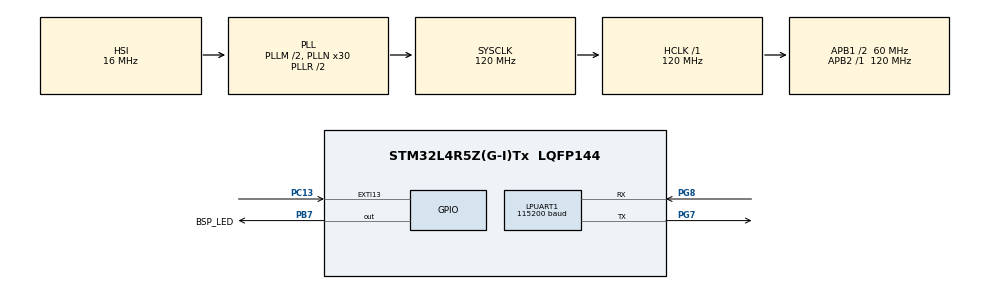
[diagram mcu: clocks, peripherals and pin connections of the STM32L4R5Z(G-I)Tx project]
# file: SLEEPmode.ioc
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LPUART1.BaudRate=115200
LPUART1.WordLength=UART_WORDLENGTH_8B
Mcu.Family=STM32L4
Mcu.Name=STM32L4R5Z(G-I)Tx
Mcu.Package=LQFP144
NVIC.EXTI15_10_IRQn=true\:0\:0\:false\:false\:true\:true\:true\:true
NVIC.LPUART1_IRQn=true\:0\:0\:false\:false\:true\:true\:true\:true
NVIC.PriorityGroup=NVIC_PRIORITYGROUP_4
PA13\ (JTMS/SWDIO).Mode=Serial_Wire
PA13\ (JTMS/SWDIO).Signal=SYS_JTMS-SWDIO
PA14\ (JTCK/SWCLK).Mode=Serial_Wire
PA14\ (JTCK/SWCLK).Signal=SYS_JTCK-SWCLK
PB7.GPIO_Label=BSP_LED
PB7.Signal=GPIO_Output
PC13.Signal=GPXTI13
PG7.Mode=Asynchronous
PG7.Signal=LPUART1_TX
PG8.Mode=Asynchronous
PG8.Signal=LPUART1_RX
PH0-OSC_IN\ (PH0).Mode=HSE-External-Oscillator
PH0-OSC_IN\ (PH0).Signal=RCC_OSC_IN
PH1-OSC_OUT\ (PH1).Mode=HSE-External-Oscillator
PH1-OSC_OUT\ (PH1).Signal=RCC_OSC_OUT
ProjectManager.HeapSize=0x200
ProjectManager.StackSize=0x400
ProjectManager.TargetToolchain=STM32CubeIDE
RCC.48MHZClocksFreq_Value=24000000
RCC.ADCFreq_Value=96000000
RCC.AHBFreq_Value=120000000
RCC.APB1CLKDivider=RCC_HCLK_DIV2
RCC.APB1Freq_Value=60000000
RCC.APB1TimFreq_Value=120000000
RCC.APB2Freq_Value=120000000
RCC.APB2TimFreq_Value=120000000
RCC.CK48CLockSelection=RCC_USBCLKSOURCE_HSI48
RCC.CortexFreq_Value=120000000
RCC.HCLKFreq_Value=120000000
RCC.HSE_VALUE=8000000
RCC.HSI48_VALUE=48000000
RCC.HSI_VALUE=16000000
RCC.MSI_VALUE=4000000
RCC.PLLM1=2
RCC.PLLMUL=RCC_PLL_MUL9
RCC.PLLN=30
RCC.PLLSAI1N=12
RCC.PLLSourceVirtual=RCC_PLLSOURCE_HSI
RCC.PRESCALERUSB=RCC_USBCLKSOURCE_PLL_DIV1_5
RCC.SYSCLKFreq_VALUE=120000000
RCC.SYSCLKSource=RCC_SYSCLKSOURCE_PLLCLK
RCC.SYSCLKSourceVirtual=RCC_SYSCLKSOURCE_PLLCLK
RCC.USBFreq_Value=48000000
RCC.VCOOutputFreq_Value=240000000
board=NUCLEO-L4R5ZI

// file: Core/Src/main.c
/* USER CODE BEGIN Header */
/**
  ******************************************************************************
  * @file           : main.c
  * @brief          : Main program body
  ******************************************************************************
  * @attention
  *
  * Copyright (c) 2023 STMicroelectronics.
  * All rights reserved.
  *
  * This software is licensed under terms that can be found in the LICENSE file
  * in the root directory of this software component.
  * If no LICENSE file comes with this software, it is provided AS-IS.
  *
  ******************************************************************************
  */
/* USER CODE END Header */
#include "main.h"

/* USER CODE BEGIN Includes */
#include<string.h>
/* USER CODE END Includes */

UART_HandleTypeDef hlpuart1;

/* USER CODE BEGIN PV */
char *str={0};
uint8_t Rx_data;
/* USER CODE END PV */

void SystemClock_Config(void);
static void MX_GPIO_Init(void);
static void MX_LPUART1_UART_Init(void);

/* USER CODE BEGIN 0 */
void HAL_UART_RxCpltCallback(UART_HandleTypeDef *huart)
 {
     HAL_UART_Receive_IT(&hlpuart1, &Rx_data, 1);
     str = "WakeUP from SLEEP by UART\r\n";
     HAL_UART_Transmit(&hlpuart1, (uint8_t *)str, strlen (str), HAL_MAX_DELAY);
 }

 void HAL_GPIO_EXTI_Callback(uint16_t GPIO_Pin)
 {
     str = "WakeUP from SLEEP by EXTI\r\n";
     HAL_UART_Transmit(&hlpuart1, (uint8_t *)str, strlen (str), HAL_MAX_DELAY);
     HAL_ResumeTick();
     HAL_PWR_DisableSleepOnExit ();

 }

/* USER CODE END 0 */

int main(void)
{

  /* MCU Configuration--------------------------------------------------------*/

  /* Reset of all peripherals, Initializes the Flash interface and the Systick. */
  HAL_Init();

  /* Configure the system clock */
  SystemClock_Config();

  /* Initialize all configured peripherals */
  MX_GPIO_Init();
  MX_LPUART1_UART_Init();
  /* USER CODE BEGIN 2 */

  HAL_UART_Receive_IT(&hlpuart1, &Rx_data, 1);

  /* USER CODE END 2 */

  /* Infinite loop */
  while (1)
  {

    /* USER CODE BEGIN 3 */
	  str = "Going into SLEEP MODE in 5 seconds\r\n";
	  		HAL_UART_Transmit(&hlpuart1, (uint8_t*) str, strlen(str), HAL_MAX_DELAY);

	  		HAL_GPIO_WritePin(BSP_LED_GPIO_Port, BSP_LED_Pin, SET); // reset
	  		HAL_Delay(5000);

	  		/*Suspend Tick increment to prevent wakeup by Systick interrupt.
	  		 Otherwise the Systick interrupt will wake up the device within 1ms (HAL time base)
	  		 */
	  		HAL_SuspendTick();

	  		HAL_GPIO_WritePin(BSP_LED_GPIO_Port, BSP_LED_Pin, RESET); // Just to indicate that the sleep mode is activated

	  		HAL_PWR_EnableSleepOnExit();

	  		//	  Enter Sleep Mode , wake up is done once User push-button is pressed
	  		HAL_PWR_EnterSLEEPMode(PWR_MAINREGULATOR_ON, PWR_SLEEPENTRY_WFI);

	  		//	  Resume Tick interrupt if disabled prior to sleep mode entry
	  	//	  HAL_ResumeTick();

	  		str = "WakeUP from SLEEP\r\n";
	  		HAL_UART_Transmit(&hlpuart1, (uint8_t*) str, strlen(str), HAL_MAX_DELAY);

	  		for (int i = 0; i < 20; i++) {
	  			HAL_GPIO_TogglePin(BSP_LED_GPIO_Port, BSP_LED_Pin);
	  			HAL_Delay(500);
	  		}

  }
  /* USER CODE END 3 */
}

void SystemClock_Config(void)
{
  RCC_OscInitTypeDef RCC_OscInitStruct = {0};
  RCC_ClkInitTypeDef RCC_ClkInitStruct = {0};

  /** Configure the main internal regulator output voltage
  */
  if (HAL_PWREx_ControlVoltageScaling(PWR_REGULATOR_VOLTAGE_SCALE1_BOOST) != HAL_OK)
  {
    Error_Handler();
  }

  /** Initializes the RCC Oscillators according to the specified parameters
  * in the RCC_OscInitTypeDef structure.
  */
  RCC_OscInitStruct.OscillatorType = RCC_OSCILLATORTYPE_HSI;
  RCC_OscInitStruct.HSIState = RCC_HSI_ON;
  RCC_OscInitStruct.HSICalibrationValue = RCC_HSICALIBRATION_DEFAULT;
  RCC_OscInitStruct.PLL.PLLState = RCC_PLL_ON;
  RCC_OscInitStruct.PLL.PLLSource = RCC_PLLSOURCE_HSI;
  RCC_OscInitStruct.PLL.PLLM = 2;
  RCC_OscInitStruct.PLL.PLLN = 30;
  RCC_OscInitStruct.PLL.PLLP = RCC_PLLP_DIV2;
  RCC_OscInitStruct.PLL.PLLQ = RCC_PLLQ_DIV2;
  RCC_OscInitStruct.PLL.PLLR = RCC_PLLR_DIV2;
  if (HAL_RCC_OscConfig(&RCC_OscInitStruct) != HAL_OK)
  {
    Error_Handler();
  }

  /** Initializes the CPU, AHB and APB buses clocks
  */
  RCC_ClkInitStruct.ClockType = RCC_CLOCKTYPE_HCLK|RCC_CLOCKTYPE_SYSCLK
                              |RCC_CLOCKTYPE_PCLK1|RCC_CLOCKTYPE_PCLK2;
  RCC_ClkInitStruct.SYSCLKSource = RCC_SYSCLKSOURCE_PLLCLK;
  RCC_ClkInitStruct.AHBCLKDivider = RCC_SYSCLK_DIV1;
  RCC_ClkInitStruct.APB1CLKDivider = RCC_HCLK_DIV2;
  RCC_ClkInitStruct.APB2CLKDivider = RCC_HCLK_DIV1;

  if (HAL_RCC_ClockConfig(&RCC_ClkInitStruct, FLASH_LATENCY_5) != HAL_OK)
  {
    Error_Handler();
  }
}

static void MX_LPUART1_UART_Init(void)
{

  hlpuart1.Instance = LPUART1;
  hlpuart1.Init.BaudRate = 115200;
  hlpuart1.Init.WordLength = UART_WORDLENGTH_8B;
  hlpuart1.Init.StopBits = UART_STOPBITS_1;
  hlpuart1.Init.Parity = UART_PARITY_NONE;
  hlpuart1.Init.Mode = UART_MODE_TX_RX;
  hlpuart1.Init.HwFlowCtl = UART_HWCONTROL_NONE;
  hlpuart1.Init.OneBitSampling = UART_ONE_BIT_SAMPLE_DISABLE;
  hlpuart1.Init.ClockPrescaler = UART_PRESCALER_DIV1;
  hlpuart1.AdvancedInit.AdvFeatureInit = UART_ADVFEATURE_NO_INIT;
  hlpuart1.FifoMode = UART_FIFOMODE_DISABLE;
  if (HAL_UART_Init(&hlpuart1) != HAL_OK)
  {
    Error_Handler();
  }
  if (HAL_UARTEx_SetTxFifoThreshold(&hlpuart1, UART_TXFIFO_THRESHOLD_1_8) != HAL_OK)
  {
    Error_Handler();
  }
  if (HAL_UARTEx_SetRxFifoThreshold(&hlpuart1, UART_RXFIFO_THRESHOLD_1_8) != HAL_OK)
  {
    Error_Handler();
  }
  if (HAL_UARTEx_DisableFifoMode(&hlpuart1) != HAL_OK)
  {
    Error_Handler();
  }

}

static void MX_GPIO_Init(void)
{
  GPIO_InitTypeDef GPIO_InitStruct = {0};

  /* GPIO Ports Clock Enable */
  __HAL_RCC_GPIOC_CLK_ENABLE();
  __HAL_RCC_GPIOH_CLK_ENABLE();
  __HAL_RCC_GPIOG_CLK_ENABLE();
  HAL_PWREx_EnableVddIO2();
  __HAL_RCC_GPIOA_CLK_ENABLE();
  __HAL_RCC_GPIOB_CLK_ENABLE();

  /*Configure GPIO pin Output Level */
  HAL_GPIO_WritePin(BSP_LED_GPIO_Port, BSP_LED_Pin, GPIO_PIN_RESET);

  /*Configure GPIO pin : PC13 */
  GPIO_InitStruct.Pin = GPIO_PIN_13;
  GPIO_InitStruct.Mode = GPIO_MODE_IT_RISING;
  GPIO_InitStruct.Pull = GPIO_NOPULL;
  HAL_GPIO_Init(GPIOC, &GPIO_InitStruct);

  /*Configure GPIO pin : BSP_LED_Pin */
  GPIO_InitStruct.Pin = BSP_LED_Pin;
  GPIO_InitStruct.Mode = GPIO_MODE_OUTPUT_PP;
  GPIO_InitStruct.Pull = GPIO_NOPULL;
  GPIO_InitStruct.Speed = GPIO_SPEED_FREQ_LOW;
  HAL_GPIO_Init(BSP_LED_GPIO_Port, &GPIO_InitStruct);

  /* EXTI interrupt init*/
  HAL_NVIC_SetPriority(EXTI15_10_IRQn, 0, 0);
  HAL_NVIC_EnableIRQ(EXTI15_10_IRQn);

}

void Error_Handler(void)
{
  __disable_irq();
  while (1)
  {
  }
}
